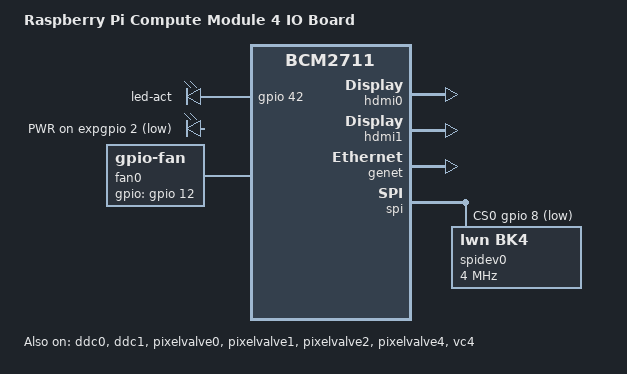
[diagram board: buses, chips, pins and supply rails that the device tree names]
// SPDX-License-Identifier: GPL-2.0
/dts-v1/;
#include "bcm2711-rpi-cm4.dtsi"
#include "bcm283x-rpi-usb-host.dtsi"

/ {
	model = "Raspberry Pi Compute Module 4 IO Board";

	leds {
		led-act {
			gpios = <&gpio 42 GPIO_ACTIVE_HIGH>;
		};

		led-pwr {
			label = "PWR";
			gpios = <&expgpio 2 GPIO_ACTIVE_LOW>;
			default-state = "keep";
			linux,default-trigger = "default-on";
		};
	};

	fan0: gpio-fan@0 {
		compatible = "gpio-fan";
		gpios = <&gpio 12 0>;
		gpio-fan,speed-map = <0    0>, <5000 1>;
		#cooling-cells = <2>;
	};
};

&ddc0 {
	status = "okay";
};

&ddc1 {
	status = "okay";
};

&gpio {
	/*
	 * Parts taken from rpi_SCH_4b_4p0_reduced.pdf and
	 * the official GPU firmware DT blob.
	 *
	 * Legend:
	 * "FOO" = GPIO line named "FOO" on the schematic
	 * "FOO_N" = GPIO line named "FOO" on schematic, active low
	 */
	gpio-line-names = "ID_SDA",
			  "ID_SCL",
			  "SDA1",
			  "SCL1",
			  "GPIO_GCLK",
			  "GPIO5",
			  "GPIO6",
			  "SPI_CE1_N",
			  "SPI_CE0_N",
			  "SPI_MISO",
			  "SPI_MOSI",
			  "SPI_SCLK",
			  "GPIO12",
			  "GPIO13",
			  /* Serial port */
			  "TXD1",
			  "RXD1",
			  "GPIO16",
			  "GPIO17",
			  "GPIO18",
			  "GPIO19",
			  "GPIO20",
			  "GPIO21",
			  "GPIO22",
			  "GPIO23",
			  "GPIO24",
			  "GPIO25",
			  "GPIO26",
			  "GPIO27",
			  "RGMII_MDIO",
			  "RGMIO_MDC",
			  /* Used by BT module */
			  "CTS0",
			  "RTS0",
			  "TXD0",
			  "RXD0",
			  /* Used by Wifi */
			  "SD1_CLK",
			  "SD1_CMD",
			  "SD1_DATA0",
			  "SD1_DATA1",
			  "SD1_DATA2",
			  "SD1_DATA3",
			  /* Shared with SPI flash */
			  "PWM0_MISO",
			  "PWM1_MOSI",
			  "STATUS_LED_G_CLK",
			  "SPIFLASH_CE_N",
			  "SDA0",
			  "SCL0",
			  "RGMII_RXCLK",
			  "RGMII_RXCTL",
			  "RGMII_RXD0",
			  "RGMII_RXD1",
			  "RGMII_RXD2",
			  "RGMII_RXD3",
			  "RGMII_TXCLK",
			  "RGMII_TXCTL",
			  "RGMII_TXD0",
			  "RGMII_TXD1",
			  "RGMII_TXD2",
			  "RGMII_TXD3";
	spi0_pins: spi0_pins {
            brcm,pins = <0x09 0x0a 0x0b>;
            brcm,function = <0x04>;
            phandle = <0x0d>;
	};
    
    spi0_cs_pins: spi0_cs_pins {
            brcm,pins = <0x08 0x07>;
            brcm,function = <0x01>;
            phandle = <0x0e>;
    };

};

&hdmi0 {
	status = "okay";
};

&hdmi1 {
	status = "okay";
};

&genet {
	status = "okay";
};

&pixelvalve0 {
	status = "okay";
};

&pixelvalve1 {
	status = "okay";
};

&pixelvalve2 {
	status = "okay";
};

&pixelvalve4 {
	status = "okay";
};

&vc4 {
	status = "okay";
};

&vec {
	status = "disabled";
};

&spi {
	pinctrl-names = "default";
	pinctrl-0 = <&spi0_pins &spi0_cs_pins>;
    cs-gpios = <&gpio 8 1>, <&gpio 7 1>;

	status = "okay";

	spidev0: spidev@0{
                 compatible = "lwn,bk4";
                 reg = <0>;      /* CE0 */
                 #address-cells = <1>;
                 #size-cells = <0>;
                 spi-max-frequency = <4000000>;
             };
};

&cpu_thermal {
	trips {
		cpu_hot: trip-point@0 {
			temperature = <55000>;	/* (millicelsius) Fan started at 55°C */
			hysteresis = <10000>;	/* (millicelsius) Fan stopped at 45°C */
			type = "active";
			};
		};
	cooling-maps {
		map0 {
			trip = <&cpu_hot>;
			cooling-device = <&fan0 1 1>;
			};
		};
};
